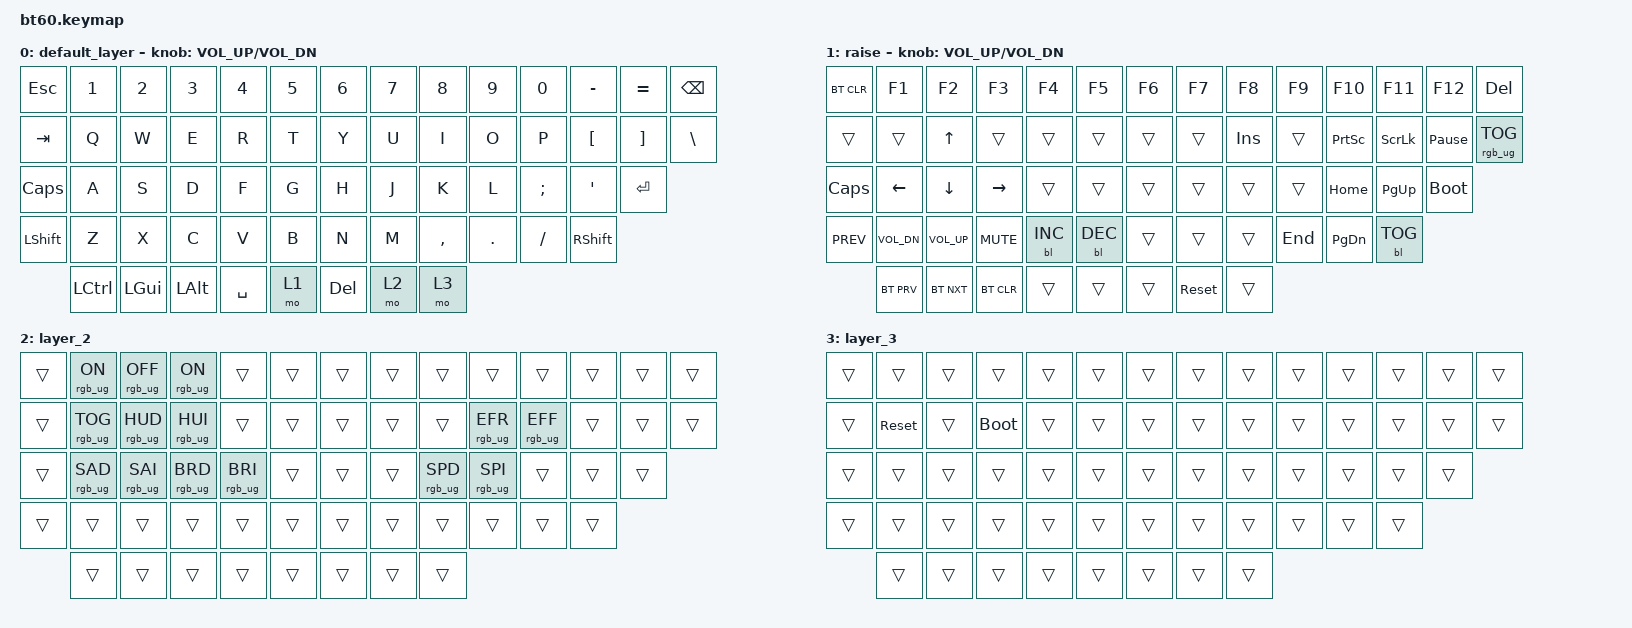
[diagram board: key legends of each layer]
#include <behaviors.dtsi>
#include <dt-bindings/zmk/backlight.h>
#include <dt-bindings/zmk/bt.h>
#include <dt-bindings/zmk/keys.h>
#include <dt-bindings/zmk/rgb.h>

/ {
    keymap {
        compatible = "zmk,keymap";

        default_layer {
            // ------------------------------------------------------------------------------------------
            // |  `  |  1  |  2  |  3  |  4  |  5  |  6  |  7  |  8  |  9  |  0  |  -  |  =  |   BKSP
            // | TAB  |  Q  |  W  |  E  |  R  |  T  |  Y  |  U  |  I  |  O  |  P  |  [  |  ]  |   |
            // | CAPS  |  A  |  S  |  D  |  F  |  G  |  H  |  J  |  K  |  L  |  ;  |  '  |     ENTER
            // |  SHIFT    |  Z  |  X  |  C  |  V  |  B  |  N  |  M  |  ,  |  .  | /   |      SHIFT
            // |  CTL  |  WIN  |  ALT  |            SPACE               | ALT | 1    |  MENU    |  CTRL
            // ------------------------------------------------------------------------------------------

            bindings = <
&kp ESC    &kp N1     &kp N2    &kp N3    &kp N4     &kp N5  &kp N6   &kp N7  &kp N8     &kp N9   &kp N0    &kp MINUS  &kp EQUAL  &kp BSPC
&kp TAB    &kp Q      &kp W     &kp E     &kp R      &kp T   &kp Y    &kp U   &kp I      &kp O    &kp P     &kp LBKT   &kp RBKT   &kp BSLH
&kp CAPS   &kp A      &kp S     &kp D     &kp F      &kp G   &kp H    &kp J   &kp K      &kp L    &kp SEMI  &kp SQT    &kp RET
&kp LSHFT  &kp Z      &kp X     &kp C     &kp V      &kp B   &kp N    &kp M   &kp COMMA  &kp DOT  &kp FSLH  &kp RSHFT
           &kp LCTRL  &kp LGUI  &kp LALT  &kp SPACE  &mo 1   &kp DEL  &mo 2   &mo 3
            >;

            sensor-bindings = <&inc_dec_kp C_VOL_UP C_VOL_DN>;
        };

        raise {
            bindings = <
&bt BT_CLR  &kp F1        &kp F2        &kp F3      &kp F4      &kp F5      &kp F6  &kp F7      &kp F8   &kp F9   &kp F10    &kp F11     &kp F12          &kp DEL
&trans      &trans        &kp UP        &trans      &trans      &trans      &trans  &trans      &kp INS  &trans   &kp PSCRN  &kp SLCK    &kp PAUSE_BREAK  &rgb_ug RGB_TOG
&kp CAPS    &kp LEFT      &kp DOWN      &kp RIGHT   &trans      &trans      &trans  &trans      &trans   &trans   &kp HOME   &kp PG_UP   &bootloader
&kp C_PREV  &kp C_VOL_DN  &kp C_VOL_UP  &kp C_MUTE  &bl BL_INC  &bl BL_DEC  &trans  &trans      &trans   &kp END  &kp PG_DN  &bl BL_TOG
            &bt BT_PRV    &bt BT_NXT    &bt BT_CLR  &trans      &trans      &trans  &sys_reset  &trans
            >;

            sensor-bindings = <&inc_dec_kp C_VOL_UP C_VOL_DN>;
        };

        layer_2 {
            bindings = <
&trans  &rgb_ug RGB_ON   &rgb_ug RGB_OFF  &rgb_ug RGB_ON   &trans           &trans  &trans  &trans  &trans           &trans           &trans           &trans  &trans  &trans
&trans  &rgb_ug RGB_TOG  &rgb_ug RGB_HUD  &rgb_ug RGB_HUI  &trans           &trans  &trans  &trans  &trans           &rgb_ug RGB_EFR  &rgb_ug RGB_EFF  &trans  &trans  &trans
&trans  &rgb_ug RGB_SAD  &rgb_ug RGB_SAI  &rgb_ug RGB_BRD  &rgb_ug RGB_BRI  &trans  &trans  &trans  &rgb_ug RGB_SPD  &rgb_ug RGB_SPI  &trans           &trans  &trans
&trans  &trans           &trans           &trans           &trans           &trans  &trans  &trans  &trans           &trans           &trans           &trans
        &trans           &trans           &trans           &trans           &trans  &trans  &trans  &trans
            >;
        };

        layer_3 {
            bindings = <
&trans  &trans      &trans  &trans       &trans  &trans  &trans  &trans  &trans  &trans  &trans  &trans  &trans  &trans
&trans  &sys_reset  &trans  &bootloader  &trans  &trans  &trans  &trans  &trans  &trans  &trans  &trans  &trans  &trans
&trans  &trans      &trans  &trans       &trans  &trans  &trans  &trans  &trans  &trans  &trans  &trans  &trans
&trans  &trans      &trans  &trans       &trans  &trans  &trans  &trans  &trans  &trans  &trans  &trans
        &trans      &trans  &trans       &trans  &trans  &trans  &trans  &trans
            >;
        };
    };
};
